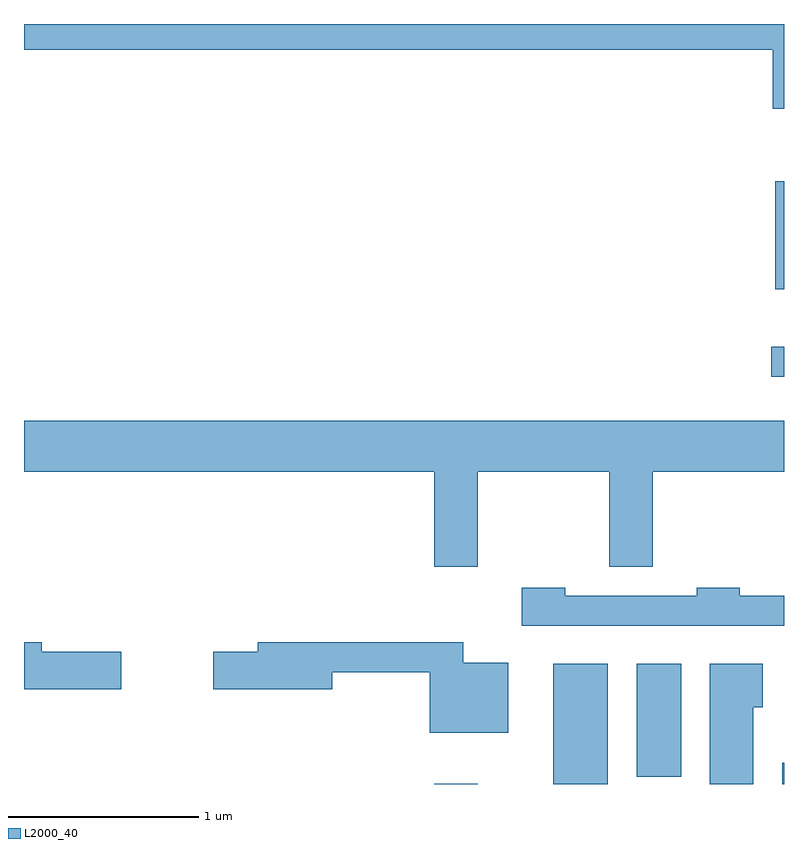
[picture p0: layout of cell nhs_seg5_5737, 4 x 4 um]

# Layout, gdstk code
import gdstk
lib = gdstk.Library(unit=1e-6, precision=1e-09)
def R(c, l, rs):  # rectangles x0, y0, x1, y1
    for r in rs: c.add(gdstk.rectangle(r[:2], r[2:], *l))
def P(c, l, *ps):  # polygons
    for p in ps: c.add(gdstk.Polygon(p, *l))
L2000_40 = (2000, 40)

nhs_seg5_5737 = lib.new_cell('nhs_seg5_5737')
R(nhs_seg5_5737, L2000_40, [(357.771,1424.072,357.999,1424.074), (358.396,1424.072,358.684,1424.704), (359.603,1424.072,359.611,1424.184), (358.836,1424.111,359.069,1424.704), (359.543,1426.216,359.611,1426.374), (359.566,1426.676,359.611,1427.244)])
P(nhs_seg5_5737, L2000_40, [(359.611,1428.072),(355.611,1428.072),(355.611,1427.936),(359.551,1427.936),(359.551,1427.626),(359.611,1427.626)],
  [(357.999,1425.716),(358.691,1425.716),(358.691,1425.216),(358.919,1425.216),(358.919,1425.716),(359.611,1425.716),(359.611,1425.984),(355.611,1425.984),(355.611,1425.716),(357.771,1425.716),(357.771,1425.216),(357.999,1425.216)],
  [(359.611,1425.064),(359.379,1425.064),(359.379,1425.104),(359.151,1425.104),(359.151,1425.064),(358.459,1425.064),(358.459,1425.104),(358.231,1425.104),(358.231,1424.906),(359.611,1424.906)],
  [(358.159,1424.709),(357.924,1424.709),(357.924,1424.819),(356.841,1424.819),(356.841,1424.769),(356.606,1424.769),(356.606,1424.571),(357.234,1424.571),(357.234,1424.661),(357.746,1424.661),(357.746,1424.341),(358.159,1424.341)],
  [(356.124,1424.769),(355.704,1424.769),(355.704,1424.819),(355.611,1424.819),(355.611,1424.571),(356.124,1424.571)],
  [(359.449,1424.476),(359.499,1424.476),(359.499,1424.704),(359.221,1424.704),(359.221,1424.072),(359.449,1424.072)])

lib.write_gds('nhs_seg5_5737.gds')
